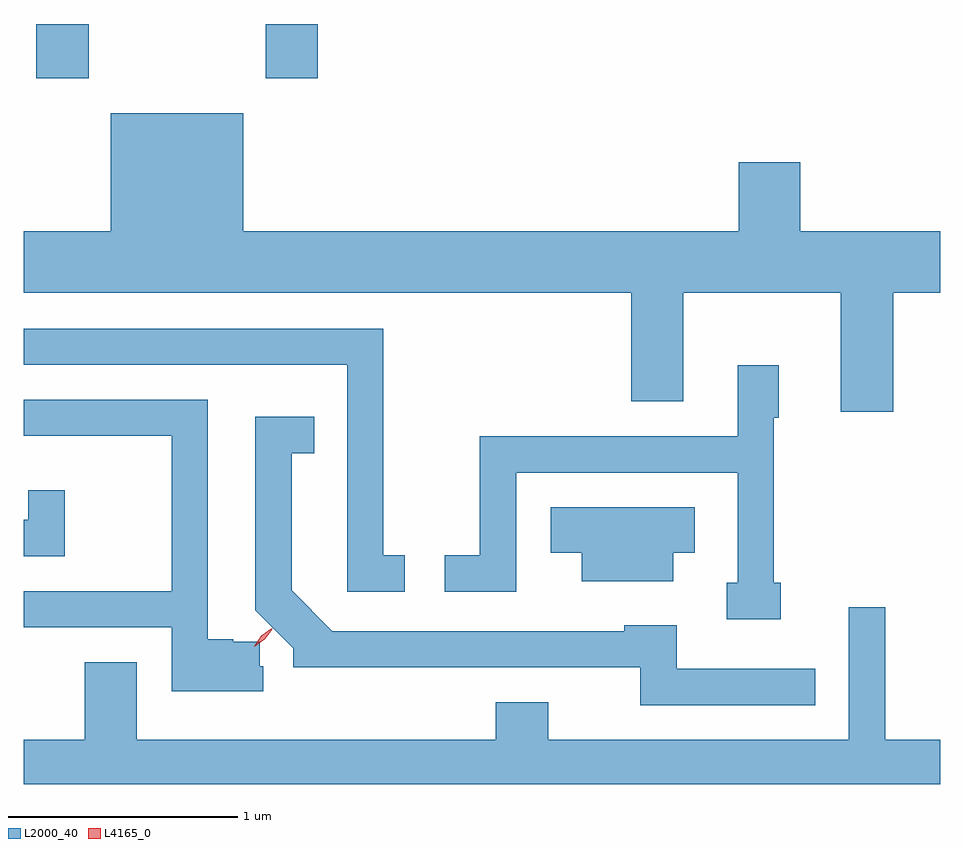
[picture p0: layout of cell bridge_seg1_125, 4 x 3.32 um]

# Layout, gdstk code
import gdstk
lib = gdstk.Library(unit=1e-6, precision=1e-09)
def R(c, l, rs):  # rectangles x0, y0, x1, y1
    for r in rs: c.add(gdstk.rectangle(r[:2], r[2:], *l))
def P(c, l, *ps):  # polygons
    for p in ps: c.add(gdstk.Polygon(p, *l))
L2000_40 = (2000, 40)
L4165_0 = (4165, 0)

bridge_seg1_125 = lib.new_cell('bridge_seg1_125')
R(bridge_seg1_125, L2000_40, [(1450.771,842.791,1450.999,843.028), (1451.771,842.791,1451.999,843.028)])
P(bridge_seg1_125, L2000_40, [(1454.509,841.856),(1454.715,841.856),(1454.715,842.124),(1454.104,842.124),(1454.104,842.424),(1453.836,842.424),(1453.836,842.124),(1451.674,842.124),(1451.674,842.639),(1451.096,842.639),(1451.096,842.124),(1450.715,842.124),(1450.715,841.856),(1453.366,841.856),(1453.366,841.381),(1453.594,841.381),(1453.594,841.856),(1454.281,841.856),(1454.281,841.336),(1454.509,841.336)],
  [(1452.378,840.709),(1452.284,840.709),(1452.284,841.699),(1450.715,841.699),(1450.715,841.541),(1452.126,841.541),(1452.126,840.551),(1452.378,840.551)],
  [(1454.019,840.589),(1453.989,840.589),(1453.989,841.311),(1454.009,841.311),(1454.009,841.539),(1453.831,841.539),(1453.831,841.229),(1452.706,841.229),(1452.706,840.709),(1452.553,840.709),(1452.553,840.551),(1452.864,840.551),(1452.864,841.071),(1453.831,841.071),(1453.831,840.589),(1453.783,840.589),(1453.783,840.431),(1454.019,840.431)],
  [(1451.76,840.225),(1451.746,840.225),(1451.746,840.333),(1451.63,840.333),(1451.63,840.344),(1451.519,840.344),(1451.519,841.389),(1450.715,841.389),(1450.715,841.231),(1451.361,841.231),(1451.361,840.554),(1450.715,840.554),(1450.715,840.396),(1451.361,840.396),(1451.361,840.116),(1451.76,840.116)],
  [(1454.168,840.214),(1453.564,840.214),(1453.564,840.404),(1453.336,840.404),(1453.336,840.379),(1452.062,840.379),(1451.884,840.557),(1451.884,841.156),(1451.983,841.156),(1451.983,841.314),(1451.726,841.314),(1451.726,840.47),(1451.891,840.305),(1451.891,840.221),(1453.406,840.221),(1453.406,840.056),(1454.168,840.056)],
  [(1450.894,840.993),(1450.736,840.993),(1450.736,840.864),(1450.715,840.864),(1450.715,840.706),(1450.894,840.706)],
  [(1453.549,840.721),(1453.644,840.721),(1453.644,840.919),(1453.016,840.919),(1453.016,840.721),(1453.151,840.721),(1453.151,840.596),(1453.549,840.596)],
  [(1454.715,839.904),(1454.474,839.904),(1454.474,840.483),(1454.316,840.483),(1454.316,839.904),(1453.004,839.904),(1453.004,840.069),(1452.776,840.069),(1452.776,839.904),(1451.209,839.904),(1451.209,840.244),(1450.981,840.244),(1450.981,839.904),(1450.715,839.904),(1450.715,839.712),(1454.715,839.712)])
P(bridge_seg1_125, L4165_0, [(1451.721,840.31),(1451.721,840.31),(1451.754,840.357),(1451.801,840.39),(1451.802,840.39),(1451.802,840.389),(1451.768,840.343),(1451.722,840.31)],
  [(1451.721,840.313),(1451.721,840.314),(1451.752,840.359),(1451.797,840.391),(1451.798,840.391),(1451.798,840.39),(1451.766,840.345),(1451.722,840.313)])

lib.write_gds('bridge_seg1_125.gds')
